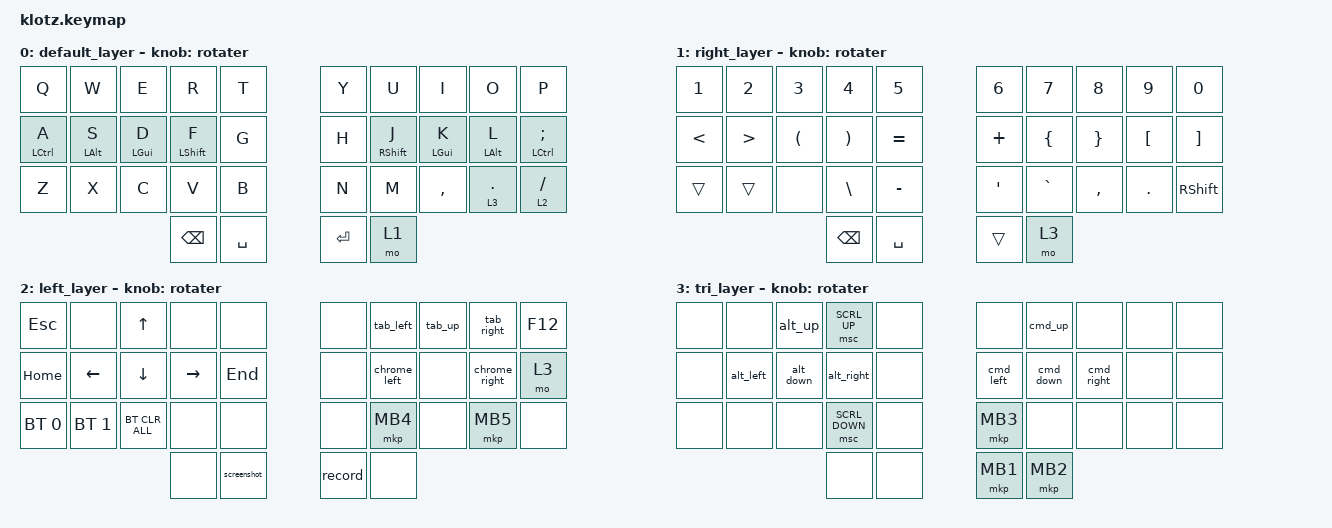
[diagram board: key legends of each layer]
//                                      █         ██        ▄▀▀▀▀▀▀▀▀▀▀█▀▀▀▀▀▀▀▀█▀▀▀▀▀▀▀▀▀▀█
//                                      █        █ █      ▄▀            ▀▄      █         █
//                                      █       █  █    ▄▀                ▀▄    █        █
//                                      █      █   █   █                    █   █       █
//                                      █     █    █   █                    █   █      █
//                                      █    █     █   █                    █   █  ▀▀▀█▀▀▀▀
//                                      █   █ █    █   █                    █   █    █
//                                      █  █   █   █   █                    █   █   █
//                                      █ █     █  █    ▀▄                ▄▀    █  █
//                                      ██       █ █      ▀▄            ▄▀      █ █
//                                      █         ██▄▄▄▄▄▄▄▄█▄▄▄▄▄▄▄▄▄▄▀        ██▄▄▄▄▄▄▄▄▄▄
//
// ▄▄▄▄▄▄▄▄▄▄▄▄▄▄▄▄▄▄▄▄▄▄▄▄▄▄▄▄▄▄▄▄▄▄▄▄▄▄▄▄▄▄▄▄▄▄▄▄▄▄▄▄▄▄▄▄▄▄▄▄▄▄▄▄▄▄▄▄▄▄▄▄▄▄▄▄▄▄▄▄▄▄▄▄▄▄▄▄▄▄▄▄▄▄▄▄▄▄▄▄▄▄▄▄▄▄▄▄▄▄▄▄▄▄▄▄▄▄▄▄▄▄▄▄▄

#include <dt-bindings/zmk/mouse.h>
#include <behaviors/mouse_keys.dtsi>
#include <behaviors.dtsi>
#include <dt-bindings/zmk/bt.h>
#include <dt-bindings/zmk/keys.h>

/ {
    behaviors {
        ht: hold_tap {
            compatible = "zmk,behavior-hold-tap";
            #binding-cells = <2>;
            flavor = "tap-preferred";
            tapping-term-ms = <180>;
            quick-tap-ms = <140>;
            require-prior-idle-ms = <100>;
            bindings = <&kp>, <&kp>;
        };

        ht_shift: hold_tap_shift {
            compatible = "zmk,behavior-hold-tap";
            #binding-cells = <2>;
            flavor = "tap-preferred";
            tapping-term-ms = <150>;
            quick-tap-ms = <110>;
            require-prior-idle-ms = <70>;
            bindings = <&kp>, <&kp>;
        };

        cmt: mod_tap {
            compatible = "zmk,behavior-hold-tap";
            #binding-cells = <2>;
            flavor = "tap-preferred";
            tapping-term-ms = <140>;
            quick-tap-ms = <100>;
            require-prior-idle-ms = <60>;
            bindings = <&mo>, <&kp>;
        };

        rotater: rotater {
            compatible = "zmk,behavior-sensor-rotate";
            #sensor-binding-cells = <0>;
            bindings = <&tab_right>, <&tab_left>;
        };
    };

    macros {
        alt_left: alt_left {
            compatible = "zmk,behavior-macro";
            #binding-cells = <0>;
            bindings =
                <&macro_press>,
                <&kp LALT>,
                <&macro_tap>,
                <&kp LEFT_ARROW>,
                <&macro_release>,
                <&kp LALT>;

            label = "ALT_LEFT";
        };

        alt_right: alt_right {
            compatible = "zmk,behavior-macro";
            #binding-cells = <0>;
            bindings =
                <&macro_press>,
                <&kp LALT>,
                <&macro_tap>,
                <&kp RIGHT_ARROW>,
                <&macro_release>,
                <&kp LALT>;

            label = "ALT_RIGHT";
        };

        alt_up: alt_up {
            compatible = "zmk,behavior-macro";
            #binding-cells = <0>;
            bindings =
                <&macro_press>,
                <&kp LALT>,
                <&macro_tap>,
                <&kp UP_ARROW>,
                <&macro_release>,
                <&kp LALT>;

            label = "ALT_UP";
        };

        alt_down: alt_down {
            compatible = "zmk,behavior-macro";
            #binding-cells = <0>;
            bindings =
                <&macro_press>,
                <&kp LALT>,
                <&macro_tap>,
                <&kp DOWN_ARROW>,
                <&macro_release>,
                <&kp LALT>;

            label = "ALT_DOWN";
        };

        cmd_left: cmd_left {
            compatible = "zmk,behavior-macro";
            #binding-cells = <0>;
            bindings =
                <&macro_press>,
                <&kp LGUI>,
                <&macro_tap>,
                <&kp LEFT_ARROW>,
                <&macro_release>,
                <&kp LGUI>;

            label = "CMD_LEFT";
        };

        cmd_right: cmd_right {
            compatible = "zmk,behavior-macro";
            #binding-cells = <0>;
            bindings =
                <&macro_press>,
                <&kp LGUI>,
                <&macro_tap>,
                <&kp RIGHT_ARROW>,
                <&macro_release>,
                <&kp LGUI>;

            label = "CMD_RIGHT";
        };

        cmd_up: cmd_up {
            compatible = "zmk,behavior-macro";
            #binding-cells = <0>;
            bindings =
                <&macro_press>,
                <&kp LGUI>,
                <&macro_tap>,
                <&kp UP_ARROW>,
                <&macro_release>,
                <&kp LGUI>;

            label = "CMD_UP";
        };

        cmd_down: cmd_down {
            compatible = "zmk,behavior-macro";
            #binding-cells = <0>;
            bindings =
                <&macro_press>,
                <&kp LGUI>,
                <&macro_tap>,
                <&kp DOWN_ARROW>,
                <&macro_release>,
                <&kp LGUI>;

            label = "CMD_DOWN";
        };

        tab_up: tab_up {
            compatible = "zmk,behavior-macro";
            #binding-cells = <0>;
            bindings =
                <&macro_press>,
                <&kp LCTRL>,
                <&macro_tap>,
                <&kp UP_ARROW>,
                <&macro_release>,
                <&kp LCTRL>;

            label = "TAB_UP";
        };

        tab_left: tab_left {
            compatible = "zmk,behavior-macro";
            #binding-cells = <0>;
            bindings =
                <&macro_press>,
                <&kp LCTRL>,
                <&macro_tap>,
                <&kp LEFT>,
                <&macro_release>,
                <&kp LCTRL>;

            label = "TAB_LEFT";
        };

        tab_right: tab_right {
            compatible = "zmk,behavior-macro";
            #binding-cells = <0>;
            bindings =
                <&macro_press>,
                <&kp LCTRL>,
                <&macro_tap>,
                <&kp RIGHT>,
                <&macro_release>,
                <&kp LCTRL>;

            label = "TAB_RIGHT";
        };

        chrome_left: chrome_left {
            compatible = "zmk,behavior-macro";
            #binding-cells = <0>;
            bindings =
                <&macro_press>,
                <&kp LGUI>,
                <&macro_press>,
                <&kp LALT>,
                <&macro_tap>,
                <&kp LEFT_ARROW>,
                <&macro_release>,
                <&kp LALT>,
                <&macro_release>,
                <&kp LGUI>;

            label = "CHROME_LEFT";
        };

        chrome_right: chrome_right {
            compatible = "zmk,behavior-macro";
            #binding-cells = <0>;
            bindings =
                <&macro_press>,
                <&kp LGUI>,
                <&macro_press>,
                <&kp LALT>,
                <&macro_tap>,
                <&kp RIGHT>,
                <&macro_release>,
                <&kp LALT>,
                <&macro_release>,
                <&kp LGUI>;

            label = "CHROME_RIGHT";
        };

        screenshot: screenshot {
            compatible = "zmk,behavior-macro";
            #binding-cells = <0>;
            bindings =
                <&macro_press>,
                <&kp LSHFT>,
                <&macro_press>,
                <&kp LGUI>,
                <&macro_tap>,
                <&kp NUMBER_4>,
                <&macro_release>,
                <&kp LGUI>,
                <&macro_release>,
                <&kp LSHFT>;

            label = "SCREENSHOT";
        };

        record: record {
            compatible = "zmk,behavior-macro";
            #binding-cells = <0>;
            bindings =
                <&macro_press>,
                <&kp LSHFT>,
                <&macro_press>,
                <&kp LGUI>,
                <&macro_tap>,
                <&kp NUMBER_5>,
                <&macro_release>,
                <&kp LGUI>,
                <&macro_release>,
                <&kp LSHFT>;

            label = "RECORD";
        };
    };

    combos {
        compatible = "zmk,combos";

        qw_tab {
            bindings = <&kp TAB>;
            key-positions = <0 1>;
        };

        as_capslock {
            bindings = <&kp CLCK>;
            key-positions = <10 11>;
        };
    };

    keymap {
        compatible = "zmk,keymap";

        default_layer {
            bindings = <
&kp Q        &kp W       &kp E       &kp R          &kp T        &kp Y      &kp U        &kp I       &kp O       &kp P
&ht LCTRL A  &ht LALT S  &ht LGUI D  &ht_shift LSHFT F    &kp G        &kp H      &ht_shift RSHFT J  &ht LGUI K  &ht LALT L  &ht LCTRL SEMICOLON
&kp Z        &kp X       &kp C       &kp V          &kp B        &kp N      &kp M        &kp COMMA   &cmt 3 DOT     &cmt 2 SLASH
                                     &kp BACKSPACE  &kp SPACE    &kp ENTER  &mo 1
            >;
        sensor-bindings = <&rotater>;
        };

        right_layer {
            bindings = <
&kp N1  &kp N2  &kp N3    &kp N4         &kp N5       &kp N6    &kp N7     &kp N8     &kp N9      &kp N0
&kp LT  &kp GT  &kp LPAR  &kp RPAR       &kp EQUAL    &kp PLUS  &kp LBRC   &kp RBRC   &kp LBKT    &kp RBKT
&trans  &trans  &none     &kp BSLH       &kp MINUS    &kp SQT   &kp GRAVE  &kp COMMA  &kp PERIOD  &kp RSHFT
                          &kp BACKSPACE  &kp SPACE    &trans    &mo 3
            >;
        sensor-bindings = <&rotater>;
        };

        left_layer {
            bindings = <
&kp ESCAPE    &none           &kp UP_ARROW    &none      &none          &none       &tab_left     &tab_up  &tab_right     &kp F12
&kp HOME      &kp LEFT_ARROW  &kp DOWN_ARROW  &kp RIGHT_ARROW  &kp END        &none       &chrome_left  &none    &chrome_right  &mo 3
&bt BT_SEL 0  &bt BT_SEL 1    &bt BT_CLR_ALL      &none      &none     &none  &mkp MB4      &none    &mkp MB5       &none
                                              &none      &screenshot    &record     &none
            >;
        sensor-bindings = <&rotater>;
        };

        tri_layer {
            bindings = <
&none  &none      &alt_up       &msc SCRL_UP    &none    &none      &cmd_up      &none       &none      &none
&none  &alt_left  &alt_down     &alt_right      &none    &cmd_left  &cmd_down    &cmd_right  &none      &none
&none  &none      &none         &msc SCRL_DOWN  &none    &mkp MB3   &none        &none       &none      &none
                         &none  &none          &mkp MB1  &mkp MB2
            >;
        sensor-bindings = <&rotater>;
        };
    };
};
